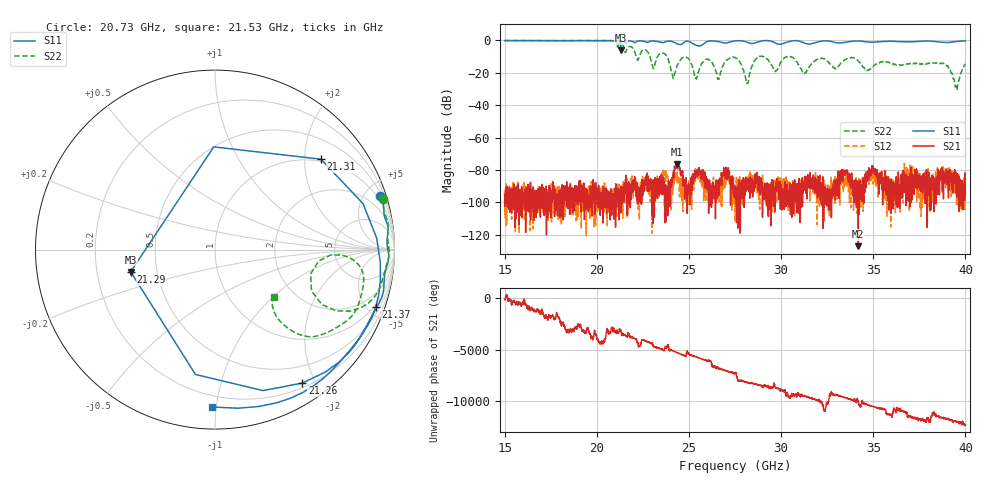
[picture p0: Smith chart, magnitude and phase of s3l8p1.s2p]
#  HZ  S  RI  R  50.00
! Rohde & Schwarz Vector Network Analyzer
! Rohde-Schwarz,ZNA43-4Port,1332450044101932,2.92
! Created: UTC 4/16/2025, 7:49:31 AM
! freq[Hz]  re:S11  im:S11  re:S21  im:S21  re:S12  im:S12  re:S22  im:S22
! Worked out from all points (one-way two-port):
!   2501 points, 15 GHz to 40 GHz, reference 50 ohm
!   highest |S21| = -76.45 dB at 24.35 GHz (marker M1); lowest = -127.0 dB at 34.19 GHz (marker M2)
!   lowest |S11| = -6.3 dB at 21.29 GHz (marker M3), VSWR 2.89, Z = 17.6 - j5.7 ohm
!   |S11| at or under -10 dB: nowhere
!   |S22| runs from -30.7 to -0.2 dB; largest |S21 - S12| = 0.00018
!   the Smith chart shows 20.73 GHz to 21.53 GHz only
!   S11 on the Smith chart (normalised r, x): 20.73 GHz: 0.72, +6.26; 21.26 GHz: 0.26, -1.82; 21.29 GHz: 0.35, -0.11; 21.31 GHz: 0.94, +2.39; 21.37 GHz: 0.84, -5.67; 21.53 GHz: 0.13, -0.97
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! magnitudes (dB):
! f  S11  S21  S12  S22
! 15 GHz  -0.2  -95.1  -92.5  -0.2
! 19.17 GHz  -0.3  -92.8  -96.4  -0.2
! 20.73 GHz  -0.3  -96.8  -97.1  -0.2
! 21.26 GHz  -1.0  -105.9  -96.0  -1.4
! 21.29 GHz  -6.3  -92.2  -97.5  -1.4
! 21.31 GHz  -2.2  -106.5  -97.3  -1.4
! 21.37 GHz  -0.4  -91.6  -100.9  -2.0
! 21.53 GHz  -1.1  -94.5  -88.2  -7.6
! 23.34 GHz  -0.9  -88.9  -87.2  -9.4
! 24.35 GHz  -2.1  -76.5  -83.5  -15.9
! 25.4 GHz  -3.1  -83.2  -81.3  -23.8
! 26.04 GHz  -0.6  -86.7  -98.1  -11.6
! 26.61 GHz  -0.9  -89.8  -86.1  -23.8
! 27.5 GHz  -0.4  -90.3  -90.4  -10.5
! 28.15 GHz  -1.2  -86.9  -92.2  -26.5
! 28.85 GHz  -0.8  -89.0  -89.2  -9.9
! 31.67 GHz  -2.2  -90.2  -88.7  -14.4
! 34.19 GHz  -0.5  -127.0  -95.8  -12.9
! 35.84 GHz  -0.6  -104.7  -93.2  -13.5
! 38.81 GHz  -1.3  -97.8  -84.1  -14.3
! 39.52 GHz  -0.8  -91.1  -101.2  -29.6
! 40 GHz  -0.5  -94.8  -85.4  -14.6
